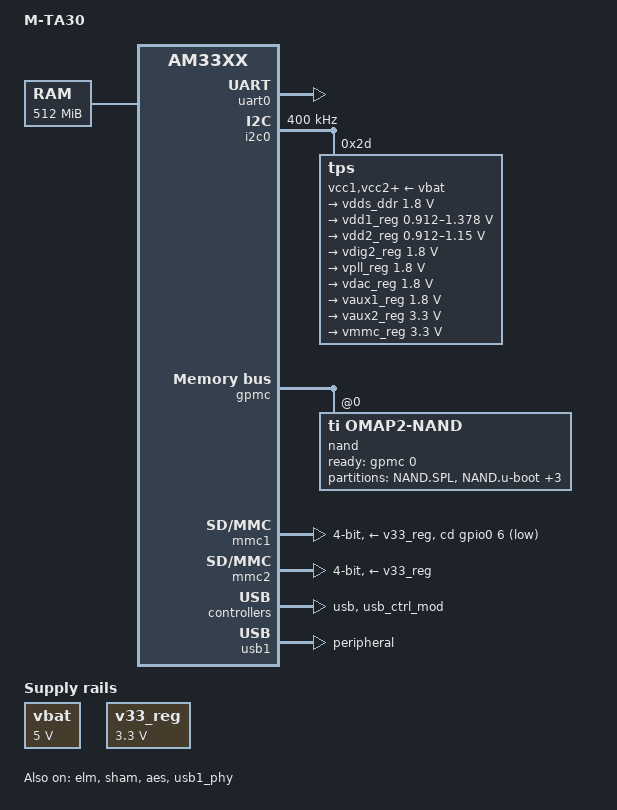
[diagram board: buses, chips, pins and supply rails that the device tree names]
/*
 * Copyright (C) 2016 SUMOMO Computer Association
 *			http://www.sumomo.mobi
 *
 * This program is free software; you can redistribute it and/or modify
 * it under the terms of the GNU General Public License version 2 as
 * published by the Free Software Foundation.
 */
/dts-v1/;

#include "am33xx.dtsi"
#include <dt-bindings/interrupt-controller/irq.h>

/ {
	model = "M-TA30 ";
	compatible = "ti,m-ta30", "ti,am33xx";

	cpus {
		cpu@0 {
			cpu0-supply = <&vdd1_reg>;
		};
	};

	memory {
		device_type = "memory";
		reg = <0x80000000 0x20000000>; /* 512 MB */
	};

	vbat: fixedregulator@0 {
		compatible = "regulator-fixed";
		regulator-name = "vbat";
		regulator-min-microvolt = <5000000>;
		regulator-max-microvolt = <5000000>;
		regualtor-always-on;
		regulator-boot-on;
	};

	v33_reg: fixedregulator@1 {
		compatible = "regulator-fixed";
		regulator-name = "v33";
		regulator-min-microvolt = <3300000>;
		regulator-max-microvolt = <3300000>;
		regualtor-always-on;
		regulator-boot-on;
	};

};

&am33xx_pinmux {
	nandflash_pins_default: nandflash_pins_default {
		pinctrl-single,pins = <
			0x0 (PIN_INPUT_PULLUP | MUX_MODE0)	/* gpmc_ad0.gpmc_ad0 */
			0x4 (PIN_INPUT_PULLUP | MUX_MODE0)	/* gpmc_ad1.gpmc_ad1 */
			0x8 (PIN_INPUT_PULLUP | MUX_MODE0)	/* gpmc_ad2.gpmc_ad2 */
			0xc (PIN_INPUT_PULLUP | MUX_MODE0)	/* gpmc_ad3.gpmc_ad3 */
			0x10 (PIN_INPUT_PULLUP | MUX_MODE0)	/* gpmc_ad4.gpmc_ad4 */
			0x14 (PIN_INPUT_PULLUP | MUX_MODE0)	/* gpmc_ad5.gpmc_ad5 */
			0x18 (PIN_INPUT_PULLUP | MUX_MODE0)	/* gpmc_ad6.gpmc_ad6 */
			0x1c (PIN_INPUT_PULLUP | MUX_MODE0)	/* gpmc_ad7.gpmc_ad7 */
			0x70 (PIN_INPUT_PULLUP | MUX_MODE0)	/* gpmc_wait0.gpmc_wait0 */
			0x74 (PIN_INPUT_PULLUP | MUX_MODE7)	/* gpmc_wpn.gpio0_30 */
			0x7c (PIN_OUTPUT | MUX_MODE0)		/* gpmc_csn0.gpmc_csn0  */
			0x90 (PIN_OUTPUT | MUX_MODE0)		/* gpmc_advn_ale.gpmc_advn_ale */
			0x94 (PIN_OUTPUT | MUX_MODE0)		/* gpmc_oen_ren.gpmc_oen_ren */
			0x98 (PIN_OUTPUT | MUX_MODE0)		/* gpmc_wen.gpmc_wen */
			0x9c (PIN_OUTPUT | MUX_MODE0)		/* gpmc_be0n_cle.gpmc_be0n_cle */
		>;
	};

	nandflash_pins_sleep: nandflash_pins_sleep {
		pinctrl-single,pins = <
			0x0 (PIN_INPUT_PULLDOWN | MUX_MODE7)
			0x4 (PIN_INPUT_PULLDOWN | MUX_MODE7)
			0x8 (PIN_INPUT_PULLDOWN | MUX_MODE7)
			0xc (PIN_INPUT_PULLDOWN | MUX_MODE7)
			0x10 (PIN_INPUT_PULLDOWN | MUX_MODE7)
			0x14 (PIN_INPUT_PULLDOWN | MUX_MODE7)
			0x18 (PIN_INPUT_PULLDOWN | MUX_MODE7)
			0x1c (PIN_INPUT_PULLDOWN | MUX_MODE7)
			0x70 (PIN_INPUT_PULLDOWN | MUX_MODE7)
			0x74 (PIN_INPUT_PULLDOWN | MUX_MODE7)
			0x7c (PIN_INPUT_PULLDOWN | MUX_MODE7)
			0x90 (PIN_INPUT_PULLDOWN | MUX_MODE7)
			0x94 (PIN_INPUT_PULLDOWN | MUX_MODE7)
			0x98 (PIN_INPUT_PULLDOWN | MUX_MODE7)
			0x9c (PIN_INPUT_PULLDOWN | MUX_MODE7)
		>;
	};

	sd_pins_default: sd_pins_default {
		pinctrl-single,pins = <
			0x100 (PIN_INPUT | MUX_MODE0) /* (G17) mmc0_clk.mmc0_clk */
			0x104 (PIN_INPUT | MUX_MODE0) /* (G18) mmc0_cmd.mmc0_cmd */
			0xf0 (PIN_INPUT | MUX_MODE0) /* mmc0_dat0.mmc0_dat0 */
			0xf4 (PIN_INPUT | MUX_MODE0) /* mmc0_dat1.mmc0_dat1 */
			0xf8 (PIN_INPUT | MUX_MODE0) /* mmc0_dat2.mmc0_dat2 */
			0xfc (PIN_INPUT | MUX_MODE0) /* mmc0_dat3.mmc0_dat3 */
		>;
	};

	fpga_sdio_pins_default: fpga_sdio_pins_default {
		pinctrl-single,pins = <
			0x128 ( PIN_INPUT | MUX_MODE6 ) /* (K17) gmii1_txd0.mmc1_clk */
			0x124 ( PIN_OUTPUT | MUX_MODE6 ) /* (K16) gmii1_txd1.mmc1_cmd */
			0x12c ( PIN_INPUT | MUX_MODE4 ) /* (K18) gmii1_txclk.mmc1_dat0 */
			0x130 ( PIN_INPUT | MUX_MODE4 ) /* (L18) gmii1_rxclk.mmc1_dat1 */
			0x134 ( PIN_INPUT | MUX_MODE4 ) /* (L17) gmii1_rxd3.mmc1_dat2 */
			0x138 ( PIN_INPUT | MUX_MODE4 ) /* (L16) gmii1_rxd2.mmc1_dat3 */
		>;
	};

	i2c0_pins: pinmux_i2c0_pins {
		pinctrl-single,pins = <
			0x188 (PIN_INPUT_PULLUP | MUX_MODE0)	/* i2c0_sda.i2c0_sda */
			0x18c (PIN_INPUT_PULLUP | MUX_MODE0)	/* i2c0_scl.i2c0_scl */
		>;
	};

	fpga_misc_pins_default: fpga_misc_pins_default {
		pinctrl-single,pins = <
			0x1a0 ( PIN_OUTPUT | MUX_MODE7 ) /* (B12) mcasp0_aclkr.gpio3[18] */
			0x1a4 ( PIN_OUTPUT | MUX_MODE7 ) /* (C13) mcasp0_fsr.gpio3[19] */
			0x1a8 ( PIN_INPUT | MUX_MODE7 ) /* (D13) mcasp0_axr1.gpio3[20] */
		>;
	};

	uart0_pins: pinmux_uart0_pins {
		pinctrl-single,pins = <
			0x170 (PIN_INPUT_PULLUP | MUX_MODE0)	/* uart0_rxd.uart0_rxd */
			0x174 (PIN_OUTPUT_PULLDOWN | MUX_MODE0)	/* uart0_txd.uart0_txd */
		>;
	};

};

&uart0 {
	pinctrl-names = "default";
	pinctrl-0 = <&uart0_pins>;

	status = "okay";
};

&i2c0 {
	pinctrl-names = "default";
	pinctrl-0 = <&i2c0_pins>;

	status = "okay";
	clock-frequency = <400000>;

	/* PMIC */
	tps: tps@2d {
		reg = <0x2d>;
	};
};

&elm {
	status = "okay";
};

&gpmc {
	status = "okay";
	pinctrl-names = "default", "sleep";
	pinctrl-0 = <&nandflash_pins_default>;
	pinctrl-1 = <&nandflash_pins_sleep>;
	ranges = <0 0 0x08000000 0x1000000>;	/* CS0: 16MB for NAND */
	nand@0,0 {
		compatible = "ti,omap2-nand";
		reg = <0 0 4>; /* CS0, offset 0, IO size 4 */
		interrupt-parent = <&intc>;
		interrupts = <100>;
		ready-gpio = <&gpmc 0 GPIO_ACTIVE_HIGH>; /* gpmc_wait0 */
		ti,nand-ecc-opt = "bch8";
		ti,elm-id = <&elm>;
		nand-bus-width = <8>;
		gpmc,device-width = <1>;
		gpmc,sync-clk-ps = <0>;
		gpmc,cs-on-ns = <0>;
		gpmc,cs-rd-off-ns = <44>;
		gpmc,cs-wr-off-ns = <44>;
		gpmc,adv-on-ns = <6>;
		gpmc,adv-rd-off-ns = <34>;
		gpmc,adv-wr-off-ns = <44>;
		gpmc,we-on-ns = <0>;
		gpmc,we-off-ns = <40>;
		gpmc,oe-on-ns = <0>;
		gpmc,oe-off-ns = <54>;
		gpmc,access-ns = <64>;
		gpmc,rd-cycle-ns = <82>;
		gpmc,wr-cycle-ns = <82>;
		gpmc,bus-turnaround-ns = <0>;
		gpmc,cycle2cycle-delay-ns = <0>;
		gpmc,clk-activation-ns = <0>;
		gpmc,wr-access-ns = <40>;
		gpmc,wr-data-mux-bus-ns = <0>;
		/* MTD partition table */
		/* All SPL-* partitions are sized to minimal length
		 * which can be independently programmable. For
		 * NAND flash this is equal to size of erase-block */
		#address-cells = <1>;
		#size-cells = <1>;
		partition@0 {
			label = "NAND.SPL";
			reg = <0x00000000 0x000020000>;
		};
		partition@1 {
			label = "NAND.u-boot";
			reg = <0x00020000 0x00100000>;
		};
		partition@2 {
			label = "NAND.u-boot-env";
			reg = <0x00120000 0x00020000>;
		};
		partition@3 {
			label = "NAND.kernel";
			reg = <0x00140000 0x00800000>;
		};
		partition@4 {
			label = "NAND.file-system";
			reg = <0x00940000 0x00000000>;
		};
	};
};

#include "tps65910.dtsi"

&tps {
	vcc1-supply = <&vbat>;
	vcc2-supply = <&vbat>;
	vcc3-supply = <&vbat>;
	vcc4-supply = <&vbat>;
	vcc5-supply = <&vbat>;
	vcc6-supply = <&vbat>;
	vcc7-supply = <&vbat>;
	vccio-supply = <&vbat>;

	regulators {
		vrtc_reg: regulator@0 {
			regulator-always-on;
		};

		vdds_ddr: regulator@1 {
			regulator-name = "vdds_ddr";
			regulator-min-microvolt = <1800000>;
			regulator-max-microvolt = <1800000>;
			regulator-boot-on;
			regulator-always-on;
		};

		vdd1_reg: regulator@2 {
			/* VDD_MPU voltage limits 0.95V - 1.325V with +/-4% tolerance */
			regulator-name = "vdd_mpu";
			regulator-min-microvolt = <912500>;
			regulator-max-microvolt = <1378000>;
			regulator-boot-on;
			regulator-always-on;
		};

		vdd2_reg: regulator@3 {
			/* VDD_CORE voltage limits 0.95V - 1.1V with +/-4% tolerance */
			regulator-name = "vdd_core";
			regulator-min-microvolt = <912500>;
			regulator-max-microvolt = <1150000>;
			regulator-boot-on;
			regulator-always-on;
		};

		/* Not connected */
		vdd3_reg: regulator@4 {
			regulator-always-on;
		};

		vdig1_reg: regulator@5 {
			regulator-always-on;
		};

		/* VDDS_PLL_DDR */
		vdig2_reg: regulator@6 {
			regulator-name = "vdig2";
			regulator-min-microvolt = <1800000>;
			regulator-max-microvolt = <1800000>;
			regulator-boot-on;
			regulator-always-on;
		};

		/* VDDA_ADC */
		vpll_reg: regulator@7 {
			regulator-name = "vpll";
			regulator-min-microvolt = <1800000>;
			regulator-max-microvolt = <1800000>;
			regulator-always-on;
		};

		/* VDDS */
		vdac_reg: regulator@8 {
			regulator-name = "vdac";
			regulator-min-microvolt = <1800000>;
			regulator-max-microvolt = <1800000>;
			regulator-boot-on;
			regulator-always-on;
		};

		/* VDDA1P8V_USB0/1 */
		vaux1_reg: regulator@9 {
			regulator-name = "vaux1";
			regulator-min-microvolt = <1800000>;
			regulator-max-microvolt = <1800000>;
			regulator-boot-on;
			regulator-always-on;
		};

		/* VDDSHV6 */
		vaux2_reg: regulator@10 {
			regulator-name = "vaux2";
			regulator-min-microvolt = <3300000>;
			regulator-max-microvolt = <3300000>;
			regulator-boot-on;
			regulator-always-on;
		};

		vaux33_reg: regulator@11 {
			regulator-always-on;
		};

		/* VDDA3P3V_USB0/1, VDDSHV1, VDDSHV2, VDDSHV3, VDDSHV4, VDDSHV5 */
		vmmc_reg: regulator@12 {
			regulator-min-microvolt = <3300000>;
			regulator-max-microvolt = <3300000>;
			regulator-always-on;
		};
	};
};

&mmc1 {
	status = "okay";
	vmmc-supply = <&v33_reg>;
	bus-width = <0x04>;
	pinctrl-names = "default";
	pinctrl-0 = <&sd_pins_default>;
	cd-gpios = <&gpio0 6 GPIO_ACTIVE_LOW>;
};

&mmc2 {
	status = "okay";
	vmmc-supply = <&v33_reg>;
	bus-width = <0x04>;
	pinctrl-names = "default";
	pinctrl-0 = <&fpga_sdio_pins_default>;
};

&sham {
	status = "okay";
};

&aes {
	status = "okay";
};

&wkup_m3_ipc {
	ti,scale-data-fw = "am335x-evm-scale-data.bin";
};

&rtc {
	system-power-controller;
};

/* USB */
&usb {
	status = "okay";
};

&usb_ctrl_mod {
	status = "okay";
};

&usb1_phy {
	vcc-supply = <&v33_reg>;
	status = "okay";
};

&usb1 {
	status = "okay";
	dr_mode = "peripheral";
};

&cppi41dma  {
	status = "okay";
};
